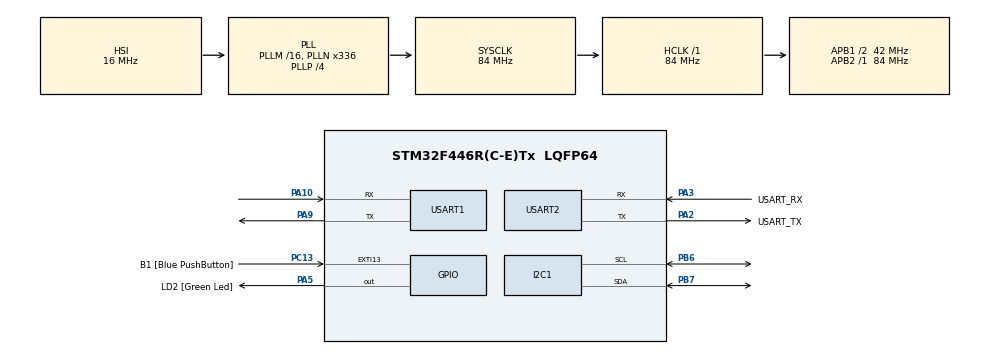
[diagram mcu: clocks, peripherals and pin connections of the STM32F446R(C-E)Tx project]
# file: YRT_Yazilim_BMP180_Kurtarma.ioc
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FREERTOS.Tasks01=defaultTask,16,256,bmp180_data,Default,NULL,Dynamic,NULL,NULL;myTask02,16,128,kurtarma,Default,NULL,Dynamic,NULL,NULL
Mcu.Family=STM32F4
Mcu.Name=STM32F446R(C-E)Tx
Mcu.Package=LQFP64
NVIC.PriorityGroup=NVIC_PRIORITYGROUP_4
NVIC.TIM6_DAC_IRQn=true\:15\:0\:false\:false\:true\:false\:false\:true\:true
NVIC.TimeBase=TIM6_DAC_IRQn
NVIC.TimeBaseIP=TIM6
PA10.Mode=Asynchronous
PA10.Signal=USART1_RX
PA13.GPIO_Label=TMS
PA13.Mode=Serial_Wire
PA13.Signal=SYS_JTMS-SWDIO
PA14.GPIO_Label=TCK
PA14.Mode=Serial_Wire
PA14.Signal=SYS_JTCK-SWCLK
PA2.GPIO_Label=USART_TX
PA2.Mode=Asynchronous
PA2.Signal=USART2_TX
PA3.GPIO_Label=USART_RX
PA3.Mode=Asynchronous
PA3.Signal=USART2_RX
PA5.GPIO_Label=LD2 [Green Led]
PA5.Signal=GPIO_Output
PA9.Mode=Asynchronous
PA9.Signal=USART1_TX
PB3.GPIO_Label=SWO
PB3.Signal=SYS_JTDO-SWO
PB6.Mode=I2C
PB6.Signal=I2C1_SCL
PB7.Mode=I2C
PB7.Signal=I2C1_SDA
PC13.GPIO_Label=B1 [Blue PushButton]
PC13.GPIO_ModeDefaultEXTI=GPIO_MODE_IT_FALLING
PC13.Signal=GPXTI13
PC14-OSC32_IN.Mode=LSE-External-Oscillator
PC14-OSC32_IN.Signal=RCC_OSC32_IN
PC15-OSC32_OUT.Mode=LSE-External-Oscillator
PC15-OSC32_OUT.Signal=RCC_OSC32_OUT
PH0-OSC_IN.Mode=HSE-External-Oscillator
PH0-OSC_IN.Signal=RCC_OSC_IN
PH1-OSC_OUT.Mode=HSE-External-Oscillator
PH1-OSC_OUT.Signal=RCC_OSC_OUT
ProjectManager.HeapSize=0x200
ProjectManager.StackSize=0x400
ProjectManager.TargetToolchain=STM32CubeIDE
RCC.48MHZClocksFreq_Value=84000000
RCC.AHBFreq_Value=84000000
RCC.APB1CLKDivider=RCC_HCLK_DIV2
RCC.APB1Freq_Value=42000000
RCC.APB1TimFreq_Value=84000000
RCC.APB2Freq_Value=84000000
RCC.APB2TimFreq_Value=84000000
RCC.CortexFreq_Value=84000000
RCC.FLatency-AdvancedSettings=FLASH_LATENCY_2
RCC.HCLKFreq_Value=84000000
RCC.HSE_VALUE=8000000
RCC.HSI_VALUE=16000000
RCC.PLLN=336
RCC.PLLP=RCC_PLLP_DIV4
RCC.SYSCLKFreq_VALUE=84000000
RCC.SYSCLKSource=RCC_SYSCLKSOURCE_PLLCLK
RCC.USBFreq_Value=168000000
RCC.VCOOutputFreq_Value=336000000
USART1.VirtualMode=VM_ASYNC
USART2.VirtualMode=VM_ASYNC
VP_FREERTOS_VS_CMSIS_V2.Mode=CMSIS_V2
VP_SYS_VS_tim6.Mode=TIM6
board=NUCLEO-F446RE

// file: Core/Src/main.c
/* USER CODE BEGIN Header */
/**
 ******************************************************************************
 * @file           : main.c
 * @brief          : Main program body
 ******************************************************************************
 * @attention
 *
 * <h2><center>&copy; Copyright (c) 2020 STMicroelectronics.
 * All rights reserved.</center></h2>
 *
 * This software component is licensed by ST under BSD 3-Clause license,
 * the "License"; You may not use this file except in compliance with the
 * License. You may obtain a copy of the License at:
 *                        opensource.org/licenses/BSD-3-Clause
 *
 ******************************************************************************
 * Minimal setup:
 *                                           _________
 *                                  VDD 1 --|      O  |
 *                                  GND 2 --|      _  |
 *                                 SCL1 3 --|     |_| |
 *                                 SDA1 4 --|_________|
 *
 *			Refer to datasheets for further information.
 *
*/
/* USER CODE END Header */
#include "main.h"
#include "cmsis_os.h"
#include "i2c.h"
#include "usart.h"
#include "gpio.h"

/* USER CODE BEGIN Includes */
#include "bmp180_for_stm32_hal.h"
#include "stdlib.h"
#include "string.h"
/* USER CODE END Includes */

void SystemClock_Config(void);
void MX_FREERTOS_Init(void);

/* USER CODE BEGIN 0 */
void MX_USART1_UART_Init(void);
void MX_USART2_UART_Init(void);
/* USER CODE END 0 */

int main(void)
{

  /* MCU Configuration--------------------------------------------------------*/

  /* Reset of all peripherals, Initializes the Flash interface and the Systick. */
  HAL_Init();

  /* Configure the system clock */
  SystemClock_Config();

  /* Initialize all configured peripherals */
  MX_GPIO_Init();
  MX_USART2_UART_Init();
  MX_I2C1_Init();
  MX_USART1_UART_Init();
  /* USER CODE BEGIN 2 */
	/* Initializes BMP180 sensor and oversampling settings. */
	BMP180_Init(&hi2c1);
	BMP180_SetOversampling(BMP180_ULTRA);
	/* Update calibration data. Must be called once before entering main loop. */
	BMP180_UpdateCalibrationData();
  /* USER CODE END 2 */

  /* Init scheduler */
  osKernelInitialize();

  /* Call init function for freertos objects (in freertos.c) */
  MX_FREERTOS_Init();

  /* Start scheduler */
  osKernelStart();

  /* We should never get here as control is now taken by the scheduler */
  /* Infinite loop */
  while (1)
  {

	}
}

void SystemClock_Config(void)
{
  RCC_OscInitTypeDef RCC_OscInitStruct = {0};
  RCC_ClkInitTypeDef RCC_ClkInitStruct = {0};

  /** Configure the main internal regulator output voltage
  */
  __HAL_RCC_PWR_CLK_ENABLE();
  __HAL_PWR_VOLTAGESCALING_CONFIG(PWR_REGULATOR_VOLTAGE_SCALE3);

  /** Initializes the RCC Oscillators according to the specified parameters
  * in the RCC_OscInitTypeDef structure.
  */
  RCC_OscInitStruct.OscillatorType = RCC_OSCILLATORTYPE_HSI;
  RCC_OscInitStruct.HSIState = RCC_HSI_ON;
  RCC_OscInitStruct.HSICalibrationValue = RCC_HSICALIBRATION_DEFAULT;
  RCC_OscInitStruct.PLL.PLLState = RCC_PLL_ON;
  RCC_OscInitStruct.PLL.PLLSource = RCC_PLLSOURCE_HSI;
  RCC_OscInitStruct.PLL.PLLM = 16;
  RCC_OscInitStruct.PLL.PLLN = 336;
  RCC_OscInitStruct.PLL.PLLP = RCC_PLLP_DIV4;
  RCC_OscInitStruct.PLL.PLLQ = 2;
  RCC_OscInitStruct.PLL.PLLR = 2;
  if (HAL_RCC_OscConfig(&RCC_OscInitStruct) != HAL_OK)
  {
    Error_Handler();
  }

  /** Initializes the CPU, AHB and APB buses clocks
  */
  RCC_ClkInitStruct.ClockType = RCC_CLOCKTYPE_HCLK|RCC_CLOCKTYPE_SYSCLK
                              |RCC_CLOCKTYPE_PCLK1|RCC_CLOCKTYPE_PCLK2;
  RCC_ClkInitStruct.SYSCLKSource = RCC_SYSCLKSOURCE_PLLCLK;
  RCC_ClkInitStruct.AHBCLKDivider = RCC_SYSCLK_DIV1;
  RCC_ClkInitStruct.APB1CLKDivider = RCC_HCLK_DIV2;
  RCC_ClkInitStruct.APB2CLKDivider = RCC_HCLK_DIV1;

  if (HAL_RCC_ClockConfig(&RCC_ClkInitStruct, FLASH_LATENCY_2) != HAL_OK)
  {
    Error_Handler();
  }
}

void HAL_TIM_PeriodElapsedCallback(TIM_HandleTypeDef *htim)
{
  if (htim->Instance == TIM6) {
    HAL_IncTick();
  }
}

void Error_Handler(void)
{
}

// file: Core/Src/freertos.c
/* USER CODE BEGIN Header */
/**
 ******************************************************************************
 * File Name          : freertos.c
 * Description        : Code for freertos applications
 ******************************************************************************
 * @attention
 *
 * Copyright (c) 2024 STMicroelectronics.
 * All rights reserved.
 *
 * This software is licensed under terms that can be found in the LICENSE file
 * in the root directory of this software component.
 * If no LICENSE file comes with this software, it is provided AS-IS.
 *
 ******************************************************************************
 */
/* USER CODE END Header */

#include "FreeRTOS.h"
#include "task.h"
#include "main.h"
#include "cmsis_os.h"

/* USER CODE BEGIN Includes */
#include "usart.h"
#include "stdio.h"

/* USER CODE END Includes */

/* USER CODE BEGIN PD */
int32_t pressure;
float r, c;
float altitude_m;
char buffer[100];

int anlikdeger = 0;
int maksdeger = 0;
int a = 0;
int mindeger = 0;
/* USER CODE END PD */

/* Definitions for defaultTask */
osThreadId_t defaultTaskHandle;
const osThreadAttr_t defaultTask_attributes = {
  .name = "defaultTask",
  .stack_size = 256 * 4,
  .priority = (osPriority_t) osPriorityBelowNormal,
};
/* Definitions for myTask02 */
osThreadId_t myTask02Handle;
const osThreadAttr_t myTask02_attributes = {
  .name = "myTask02",
  .stack_size = 128 * 4,
  .priority = (osPriority_t) osPriorityBelowNormal,
};

void bmp180_data(void *argument);
void kurtarma(void *argument);

void MX_FREERTOS_Init(void); /* (MISRA C 2004 rule 8.1) */

void MX_FREERTOS_Init(void) {

  /* Create the thread(s) */
  /* creation of defaultTask */
  defaultTaskHandle = osThreadNew(bmp180_data, NULL, &defaultTask_attributes);

  /* creation of myTask02 */
  myTask02Handle = osThreadNew(kurtarma, NULL, &myTask02_attributes);

}

void bmp180_data(void *argument)
{
  /* USER CODE BEGIN bmp180_data */

  /* Infinite loop */
  for (;;)
  {
    pressure = BMP180_GetPressure();
    r = pressure / 101325.0;
    c = 1.0 / 5.255;
    altitude_m = (1 - pow(r, c)) * 44330.77;

    sprintf(buffer, "Pressure: %d Pa\nAltitude: %f\n", (int)pressure, (float)altitude_m);
    HAL_UART_Transmit(&huart2, buffer, strlen(buffer), 100);

    anlikdeger = altitude_m;

    if (maksdeger < anlikdeger)
    {
      maksdeger = anlikdeger;
    }

    osDelay(500);
  }

  /* USER CODE END bmp180_data */
}

void kurtarma(void *argument)
{
  /* USER CODE BEGIN kurtarma */
  osDelay(1000);

  /* Infinite loop */
  for (;;)
  {
    if ((maksdeger - anlikdeger) > 1)
    {
      HAL_GPIO_WritePin(LD2_GPIO_Port, LD2_Pin, 1);
      a++;

    }
    if(a=1 && anlikdeger<=30){
                 HAL_GPIO_WritePin(LD2_GPIO_Port, LD2_Pin, 0);
              }
    osDelay(10);
  }

  /* USER CODE END kurtarma */
}
